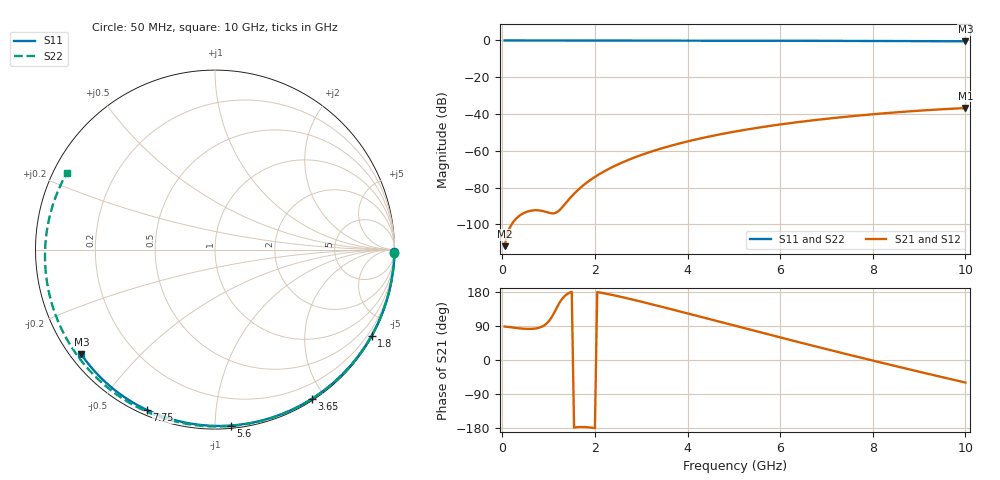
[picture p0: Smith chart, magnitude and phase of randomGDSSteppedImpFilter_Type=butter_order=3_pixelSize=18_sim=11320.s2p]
! freq	dB(S11)	phase(S11)	dB(S12)	phase(S12)
!  dB(S21)	phase(S21)	dB(S22)	phase(S22)
!S-par simulation data
#  GHz  S  DB  R 50
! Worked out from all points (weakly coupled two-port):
!   200 points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, 50 MHz to 10 GHz, reference 50 ohm
!   highest |S21| = -36.73 dB at 10 GHz (marker M1); lowest = -111.8 dB at 50 MHz (marker M2)
!   lowest |S11| = -0.5 dB at 10 GHz (marker M3), VSWR 36.30, Z = 1.54 - j17.3 ohm
!   |S11| at or under -10 dB: nowhere
!   |S22| runs from -0.6 to 0.0 dB; largest |S21 - S12| = 0
!   S11 on the Smith chart (normalised r, x): 50 MHz: open; 1.8 GHz: 0.03, -3.89; 3.65 GHz: 0.02, -1.84; 5.6 GHz: 0.02, -1.10; 7.75 GHz: 0.02, -0.66; 10 GHz: 0.03, -0.35
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0.05  -0.00 -0.8  -111.78 88.3  -111.78 88.3  -0.00 -1.1
0.45  -0.01 -7.3  -93.98 82.7  -93.98 82.7  -0.01 -10.4
0.85  -0.02 -13.7  -92.56 87.7  -92.56 87.7  -0.02 -19.5
1.65  -0.03 -26.5  -80.87 -176.9  -80.87 -176.9  -0.05 -37.4
1.7  -0.03 -27.3  -79.76 -176.7  -79.76 -176.7  -0.05 -38.5
1.75  -0.04 -28.1  -78.71 -176.8  -78.71 -176.8  -0.05 -39.6
1.8  -0.04 -28.9  -77.71 -177.1  -77.71 -177.1  -0.05 -40.7
2.1  -0.04 -33.6  -72.58 178.3  -72.58 178.3  -0.06 -47.3
2.5  -0.05 -39.7  -67.33 168.4  -67.33 168.4  -0.07 -55.9
2.9  -0.06 -45.9  -63.16 156.9  -63.16 156.9  -0.08 -64.4
3.4  -0.07 -53.4  -58.95 141.7  -58.95 141.7  -0.10 -74.8
3.65  -0.08 -57.1  -57.14 134.0  -57.14 134.0  -0.11 -79.9
4.35  -0.10 -67.3  -52.84 111.9  -52.84 111.9  -0.13 -93.9
5.05  -0.12 -77.2  -49.39 89.6  -49.39 89.6  -0.17 -107.5
5.6  -0.14 -84.8  -47.11 72.2  -47.11 72.2  -0.20 -118.1
6.15  -0.16 -92.2  -45.13 54.9  -45.13 54.9  -0.23 -128.5
6.7  -0.19 -99.5  -43.41 37.8  -43.41 37.8  -0.27 -138.9
7.25  -0.23 -106.7  -41.89 21.0  -41.89 21.0  -0.32 -149.4
7.75  -0.26 -113.1  -40.67 5.9  -40.67 5.9  -0.36 -159.1
8.35  -0.31 -120.7  -39.36 -11.9  -39.36 -11.9  -0.43 -171.1
9.2  -0.39 -131.5  -37.83 -36.7  -37.83 -36.7  -0.53 171.0
10  -0.48 -141.9  -36.73 -59.5  -36.73 -59.5  -0.64 152.7
